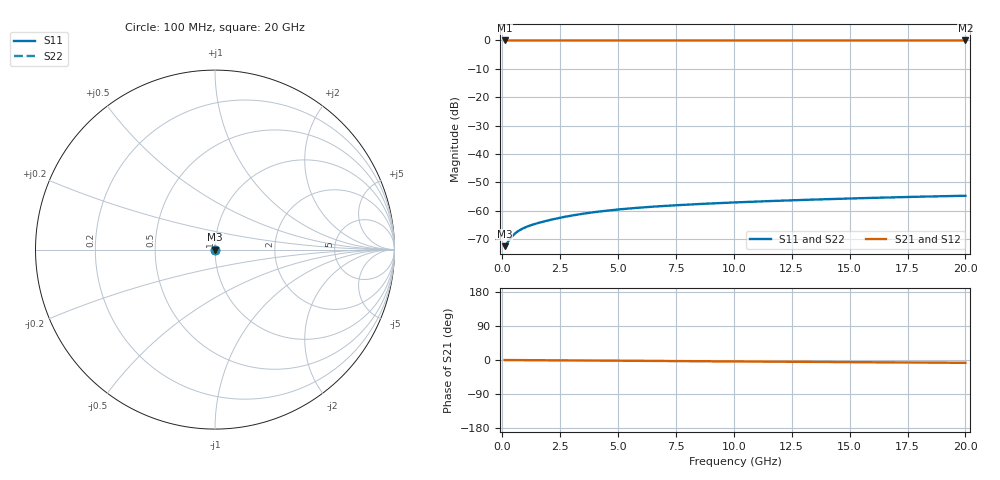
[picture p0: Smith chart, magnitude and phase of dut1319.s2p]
! Touchstone file exported from HFSS 2026.1.0
!  File:  C:/ffzhzh/LocalFiles/Ansys_Project_Files/temp_train_TSV_1319_1783195169_22436.aedt
!  Generated:  04:00:54 AM Jul  5, 2026
!  Design:  TSV
!  Project:  temp_train_TSV_1319_1783195169_22436
! Variables:
!  h_bsmrdl = 2um
!  h_ox = 20um
!  h_rdl = 5um
!  h_sub = 78.08um
!  h_tmrdl = 5um
!  h_tsv = 78.08um
!  h_via = 3um
!  l_bsmrdl = 300um
!  l_sub = 413.76um
!  l_tmrdl = 200um
!  m_sub = 200um
!  pitch = 28.29um
!  r_tsv = 6.88um
!  s_tmrdl = 10um
!  w_bsmrdl = 18um
!  w_sub = 500um
!  w_tmrdl = 12um
!  x_tsv_center1 = 206um
!  x_tsv_center2 = 524um
!  x_tsv_center3 = 736um
!  x_tsv_center4 = 1054um
!  x_tsv_center5 = 1266um
!  x_tsv_center6 = 1584um
# GHz S MA R 50.000000
! Terminal data exported
! Port[1] = TSV1_1_T1
! Port[2] = TSV1_1_T2
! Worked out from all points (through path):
!   200 points, 100 MHz to 20 GHz, reference 50 ohm
!   highest |S21| = 0.00 dB at 100 MHz (marker M1); lowest = 0.0 dB at 20 GHz (marker M2)
!   group delay of S21, straight-line fit = 1.03 ps
!   lowest |S11| = -72.5 dB at 100 MHz (marker M3), VSWR 1.00, Z = 50 + j0.00529 ohm
!   |S11| at or under -10 dB: start of sweep to end of sweep
!   |S22| runs from -72.5 to -54.7 dB; largest |S21 - S12| = 3.3e-15
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0.1  0.0002361 12.9  0.9998 -0.0  0.9998 -0.0  0.0002361 12.9
! Gamma 0 0 0 0
! Port Impedance 50 0 50 0
0.2  0.0002655 22.5  0.9998 -0.1  0.9998 -0.1  0.0002655 22.5
0.3  0.0003032 28.2  0.9997 -0.1  0.9997 -0.1  0.0003032 28.2
0.4  0.0003418 31.2  0.9997 -0.2  0.9997 -0.2  0.0003418 31.2
0.5  0.0003778 32.7  0.9997 -0.2  0.9997 -0.2  0.0003779 32.7
0.6  0.0004101 33.4  0.9997 -0.2  0.9997 -0.2  0.0004103 33.5
0.7  0.0004388 33.8  0.9996 -0.3  0.9996 -0.3  0.000439 33.8
0.8  0.0004643 33.9  0.9996 -0.3  0.9996 -0.3  0.0004646 34.0
1  0.0005082 34.2  0.9996 -0.4  0.9996 -0.4  0.0005086 34.2
1.4  0.0005806 34.7  0.9995 -0.5  0.9995 -0.5  0.000581 34.7
2  0.0006753 35.4  0.9994 -0.8  0.9994 -0.8  0.0006756 35.4
2.7  0.0007773 35.5  0.9994 -1.0  0.9994 -1.0  0.0007774 35.5
3.5  0.0008828 34.7  0.9993 -1.3  0.9993 -1.3  0.0008828 34.7
4.2  0.0009644 33.6  0.9992 -1.6  0.9992 -1.6  0.0009644 33.6
5  0.001046 32.2  0.9991 -1.9  0.9991 -1.9  0.001046 32.2
5.8  0.001117 30.7  0.9991 -2.2  0.9991 -2.2  0.001117 30.7
6.8  0.001195 28.9  0.999 -2.6  0.999 -2.6  0.001195 28.9
8.3  0.001294 26.4  0.9989 -3.1  0.9989 -3.1  0.001295 26.4
10.1  0.001398 23.7  0.9988 -3.8  0.9988 -3.8  0.001398 23.7
13.4  0.001563 19.1  0.9986 -5.0  0.9986 -5.0  0.001564 19.0
16.7  0.001707 14.2  0.9984 -6.2  0.9984 -6.2  0.001708 14.2
20  0.001829 9.1  0.9982 -7.5  0.9982 -7.5  0.001831 9.1
